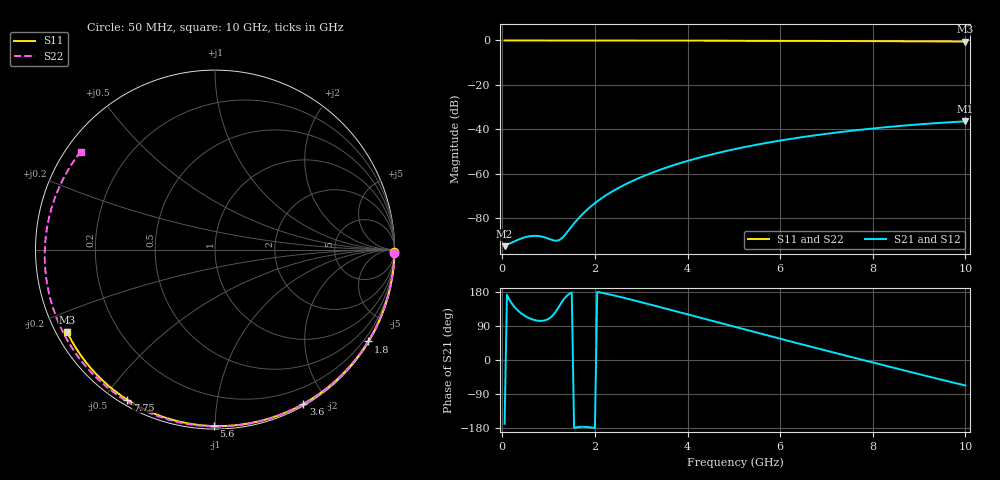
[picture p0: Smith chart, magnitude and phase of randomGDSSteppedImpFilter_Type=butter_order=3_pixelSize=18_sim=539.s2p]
! freq	dB(S11)	phase(S11)	dB(S12)	phase(S12)
!  dB(S21)	phase(S21)	dB(S22)	phase(S22)
!S-par simulation data
#  GHz  S  DB  R 50
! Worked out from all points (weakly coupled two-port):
!   200 points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, 50 MHz to 10 GHz, reference 50 ohm
!   highest |S21| = -36.46 dB at 10 GHz (marker M1); lowest = -92.7 dB at 50 MHz (marker M2)
!   lowest |S11| = -0.5 dB at 10 GHz (marker M3), VSWR 34.32, Z = 1.56 - j13 ohm
!   |S11| at or under -10 dB: nowhere
!   |S22| runs from -0.7 to 0.0 dB; largest |S21 - S12| = 0
!   S11 on the Smith chart (normalised r, x): 50 MHz: open; 1.8 GHz: 0.03, -3.62; 3.6 GHz: 0.02, -1.72; 5.6 GHz: 0.02, -0.99; 7.75 GHz: 0.02, -0.57; 10 GHz: 0.03, -0.26
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0.05  -0.00 -0.9  -92.74 -168.4  -92.74 -168.4  -0.00 -1.2
0.8  -0.02 -13.9  -88.23 103.3  -88.23 103.3  -0.02 -18.5
1.65  -0.04 -28.4  -80.09 -176.8  -80.09 -176.8  -0.05 -37.7
1.75  -0.04 -30.1  -77.92 -176.3  -77.92 -176.3  -0.05 -39.9
1.8  -0.04 -30.9  -76.91 -176.5  -76.91 -176.5  -0.05 -41.0
2.1  -0.05 -35.9  -71.79 178.5  -71.79 178.5  -0.06 -47.6
2.45  -0.05 -41.7  -67.17 169.2  -67.17 169.2  -0.07 -55.2
2.9  -0.06 -49.1  -62.49 155.6  -62.49 155.6  -0.08 -64.9
3.4  -0.08 -57.1  -58.34 139.8  -58.34 139.8  -0.10 -75.4
3.6  -0.08 -60.2  -56.90 133.4  -56.90 133.4  -0.11 -79.5
4.3  -0.10 -71.1  -52.56 110.8  -52.56 110.8  -0.13 -93.7
5.05  -0.13 -82.4  -48.85 86.6  -48.85 86.6  -0.17 -108.7
5.6  -0.15 -90.4  -46.58 68.9  -46.58 68.9  -0.20 -119.5
6.15  -0.18 -98.3  -44.63 51.3  -44.63 51.3  -0.23 -130.2
6.7  -0.21 -106.0  -42.92 34.0  -42.92 34.0  -0.27 -141.1
7.25  -0.24 -113.6  -41.43 16.8  -41.43 16.8  -0.32 -152.1
7.75  -0.28 -120.4  -40.22 1.2  -40.22 1.2  -0.37 -162.5
8.35  -0.33 -128.5  -38.97 -17.4  -38.97 -17.4  -0.44 -175.4
8.8  -0.37 -134.5  -38.15 -31.3  -38.15 -31.3  -0.49 174.4
9.2  -0.41 -139.9  -37.52 -43.5  -37.52 -43.5  -0.55 164.8
9.6  -0.46 -145.3  -36.96 -55.5  -36.96 -55.5  -0.60 154.7
10  -0.51 -150.8  -36.46 -67.2  -36.46 -67.2  -0.66 143.9
